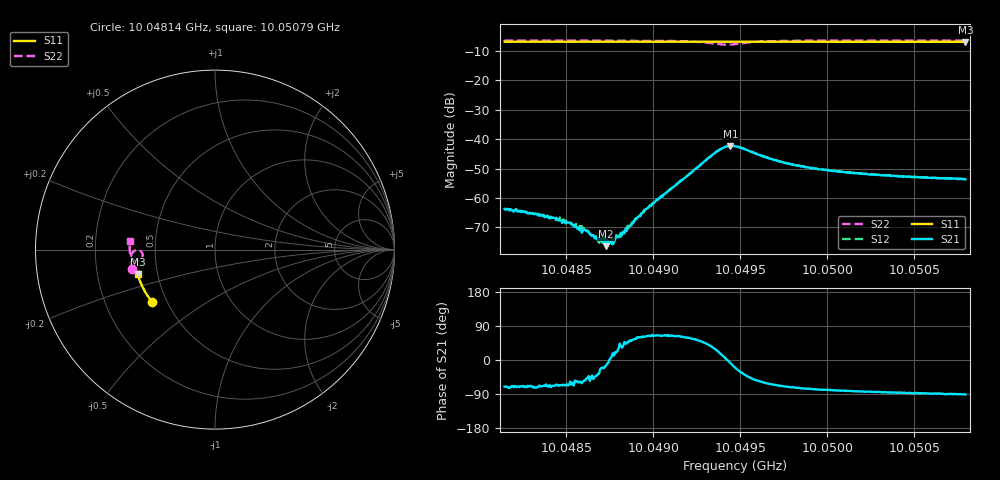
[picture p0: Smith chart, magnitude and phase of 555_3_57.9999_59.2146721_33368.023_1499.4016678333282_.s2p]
#  HZ  S  RI  R  50.00
! Rohde & Schwarz Vector Network Analyzer
! Rohde-Schwarz,ZNB20-2Port,1311601062101988,3.16
! Created: UTC 3/21/2024, 1:15:11 AM
! freq[Hz]  re:S11  im:S11  re:S21  im:S21  re:S12  im:S12  re:S22  im:S22
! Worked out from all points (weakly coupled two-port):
!   401 points, 10.04814 GHz to 10.05079 GHz, reference 50 ohm
!   highest |S21| = -42.29 dB at 10.04944 GHz (marker M1); lowest = -76.4 dB at 10.04873 GHz (marker M2)
!   lowest |S11| = -6.9 dB at 10.05079 GHz (marker M3), VSWR 2.65, Z = 19.2 - j6.58 ohm
!   |S11| at or under -10 dB: nowhere
!   |S22| runs from -7.9 to -6.4 dB; largest |S21 - S12| = 0.00055
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1.0048145e10  -0.3529 -0.2899  0.000218 -0.000612  0.000245 -0.000596  -0.4649 -0.1093
1.004833e10  -0.3604 -0.2801  0.00016 -0.000504  0.000232 -0.000481  -0.4674 -0.0964
1.004843e10  -0.3642 -0.2747  0.00017 -0.000428  0.000198 -0.000377  -0.4683 -0.089
1.0048476e10  -0.366 -0.2724  0.000149 -0.000347  0.000181 -0.000365  -0.4688 -0.0858
1.0048529e10  -0.3678 -0.2694  0.000162 -0.000338  0.000207 -0.000288  -0.4694 -0.0818
1.0048589e10  -0.3702 -0.2661  0.000123 -0.000225  0.000186 -0.000273  -0.4699 -0.077
1.0048615e10  -0.3711 -0.2648  0.000181 -0.000204  0.000193 -0.00019  -0.4701 -0.0752
1.0048668e10  -0.3731 -0.2617  0.000164 -0.000151  0.000173 -0.000123  -0.4703 -0.071
1.0048675e10  -0.3734 -0.2615  0.000148 -0.00013  0.00016 -0.000121  -0.4702 -0.0703
1.0048728e10  -0.3752 -0.2585  0.000147 -3.67e-05  0.000184 -4.99e-05  -0.4706 -0.0661
1.0048761e10  -0.3764 -0.2566  0.000164 2.85e-05  0.000198 3.97e-05  -0.4707 -0.0634
1.0048814e10  -0.3783 -0.2537  0.000208 0.000149  0.000177 0.000131  -0.4708 -0.0591
1.00489e10  -0.3812 -0.2489  0.000244 0.000357  0.000236 0.000391  -0.4705 -0.0511
1.0049032e10  -0.3858 -0.2414  0.000418 0.000888  0.000354 0.000918  -0.469 -0.0377
1.0049357e10  -0.3956 -0.2224  0.00526 0.00281  0.00506 0.00313  -0.4209 -0.00515
1.0049403e10  -0.3968 -0.22  0.00709 0.00122  0.00703 0.0017  -0.4055 -0.0199
1.0049443e10  -0.3979 -0.2178  0.0076 -0.00114  0.00767 -0.000624  -0.4038 -0.0405
1.0049469e10  -0.3988 -0.2167  0.00714 -0.00258  0.00734 -0.00207  -0.41 -0.0524
1.0049701e10  -0.4059 -0.2032  0.00179 -0.00401  0.00201 -0.00392  -0.4646 -0.0437
1.0049913e10  -0.4117 -0.1905  0.000734 -0.00313  0.00093 -0.00309  -0.4729 -0.02
1.0050357e10  -0.4224 -0.1632  0.000224 -0.0024  0.000321 -0.0024  -0.4755 0.0169
1.0050794e10  -0.4312 -0.136  -3.6e-05 -0.00208  8.86e-05 -0.00211  -0.4732 0.0483
